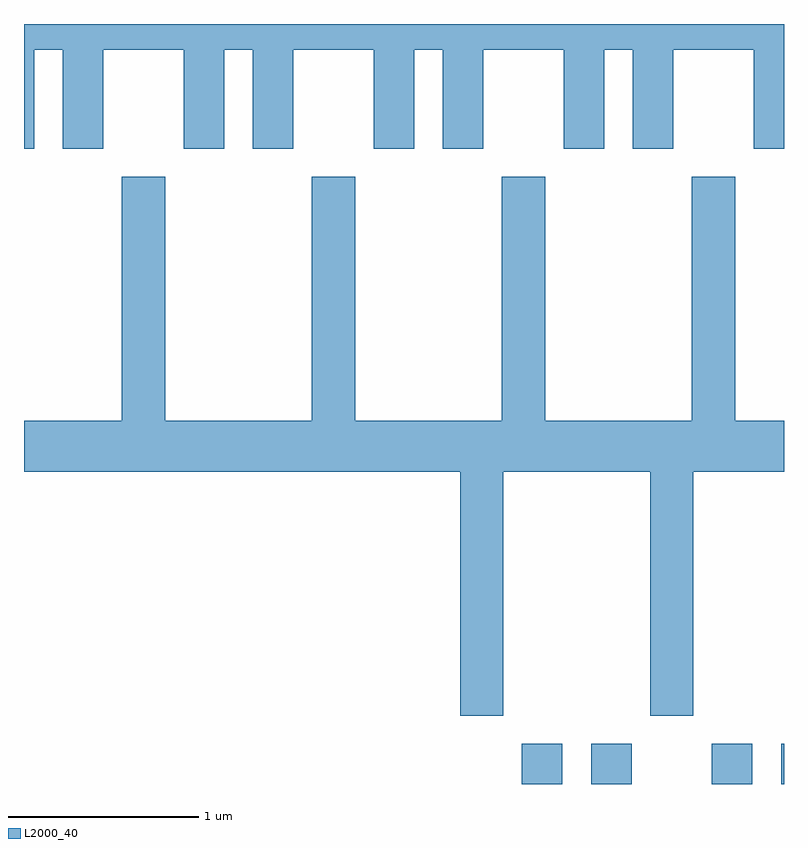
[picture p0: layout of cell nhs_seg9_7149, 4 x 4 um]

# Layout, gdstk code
import gdstk
lib = gdstk.Library(unit=1e-6, precision=1e-09)
def R(c, l, rs):  # rectangles x0, y0, x1, y1
    for r in rs: c.add(gdstk.rectangle(r[:2], r[2:], *l))
def P(c, l, *ps):  # polygons
    for p in ps: c.add(gdstk.Polygon(p, *l))
L2000_40 = (2000, 40)

nhs_seg9_7149 = lib.new_cell('nhs_seg9_7149')
R(nhs_seg9_7149, L2000_40, [(400.231,1952.432,400.444,1952.644), (400.596,1952.432,400.809,1952.644), (401.231,1952.432,401.444,1952.644), (401.596,1952.432,401.611,1952.644)])
P(nhs_seg9_7149, L2000_40, [(397.664,1956.296),(397.816,1956.296),(397.816,1955.776),(398.029,1955.776),(398.029,1956.296),(398.451,1956.296),(398.451,1955.776),(398.664,1955.776),(398.664,1956.296),(398.816,1956.296),(398.816,1955.776),(399.029,1955.776),(399.029,1956.296),(399.451,1956.296),(399.451,1955.776),(399.664,1955.776),(399.664,1956.296),(399.816,1956.296),(399.816,1955.776),(400.029,1955.776),(400.029,1956.296),(400.451,1956.296),(400.451,1955.776),(400.664,1955.776),(400.664,1956.296),(400.816,1956.296),(400.816,1955.776),(401.029,1955.776),(401.029,1956.296),(401.451,1956.296),(401.451,1955.776),(401.611,1955.776),(401.611,1956.432),(397.611,1956.432),(397.611,1955.776),(397.664,1955.776)],
  [(400.134,1954.076),(400.906,1954.076),(400.906,1952.791),(401.134,1952.791),(401.134,1954.076),(401.611,1954.076),(401.611,1954.344),(401.354,1954.344),(401.354,1955.629),(401.126,1955.629),(401.126,1954.344),(400.354,1954.344),(400.354,1955.629),(400.126,1955.629),(400.126,1954.344),(399.354,1954.344),(399.354,1955.629),(399.126,1955.629),(399.126,1954.344),(398.354,1954.344),(398.354,1955.629),(398.126,1955.629),(398.126,1954.344),(397.611,1954.344),(397.611,1954.076),(399.906,1954.076),(399.906,1952.791),(400.134,1952.791)])

lib.write_gds('nhs_seg9_7149.gds')
